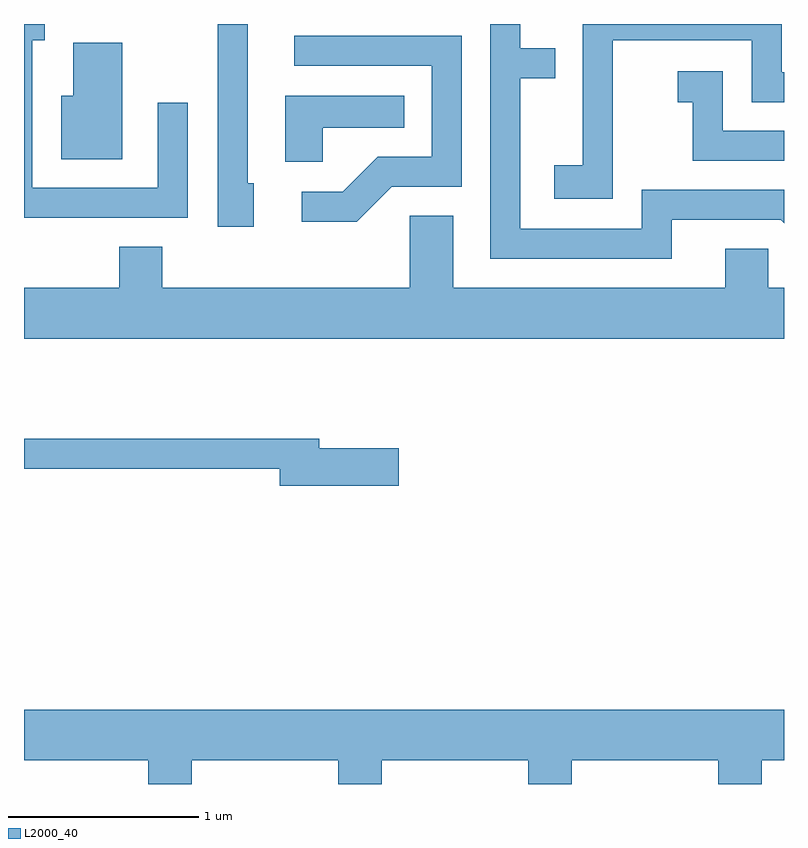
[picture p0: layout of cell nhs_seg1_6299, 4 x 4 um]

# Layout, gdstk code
import gdstk
lib = gdstk.Library(unit=1e-6, precision=1e-09)
def P(c, l, *ps):  # polygons
    for p in ps: c.add(gdstk.Polygon(p, *l))
L2000_40 = (2000, 40)

nhs_seg1_6299 = lib.new_cell('nhs_seg1_6299')
P(nhs_seg1_6299, L2000_40, [(378.709,865.626),(379.441,865.626),(379.441,865.301),(379.611,865.301),(379.611,865.459),(379.599,865.459),(379.599,865.712),(378.551,865.712),(378.551,864.969),(378.401,864.969),(378.401,864.791),(378.709,864.791)],
  [(379.019,864.681),(379.594,864.681),(379.611,864.664),(379.611,864.839),(378.861,864.839),(378.861,864.634),(378.224,864.634),(378.224,865.426),(378.408,865.426),(378.408,865.584),(378.224,865.584),(378.224,865.712),(378.066,865.712),(378.066,864.476),(379.019,864.476)],
  [(376.819,864.874),(376.789,864.874),(376.789,865.712),(376.631,865.712),(376.631,864.646),(376.819,864.646)],
  [(376.474,865.298),(376.316,865.298),(376.316,864.849),(375.654,864.849),(375.654,865.626),(375.719,865.626),(375.719,865.712),(375.611,865.712),(375.611,864.691),(376.474,864.691)],
  [(377.547,864.856),(377.914,864.856),(377.914,865.649),(377.033,865.649),(377.033,865.491),(377.756,865.491),(377.756,865.014),(377.474,865.014),(377.289,864.829),(377.073,864.829),(377.073,864.671),(377.362,864.671)],
  [(376.129,865.614),(375.871,865.614),(375.871,865.334),(375.806,865.334),(375.806,865.001),(376.129,865.001)],
  [(379.611,865.149),(379.289,865.149),(379.289,865.464),(379.053,865.464),(379.053,865.301),(379.131,865.301),(379.131,864.991),(379.611,864.991)],
  [(377.184,865.166),(377.613,865.166),(377.613,865.334),(376.986,865.334),(376.986,864.986),(377.184,864.986)],
  [(379.301,864.529),(379.301,864.324),(377.869,864.324),(377.869,864.704),(377.641,864.704),(377.641,864.324),(376.339,864.324),(376.339,864.539),(376.111,864.539),(376.111,864.324),(375.611,864.324),(375.611,864.056),(379.611,864.056),(379.611,864.324),(379.529,864.324),(379.529,864.529)],
  [(377.584,863.479),(377.164,863.479),(377.164,863.529),(375.611,863.529),(375.611,863.371),(376.956,863.371),(376.956,863.281),(377.584,863.281)],
  [(375.611,861.836),(376.266,861.836),(376.266,861.712),(376.494,861.712),(376.494,861.836),(377.266,861.836),(377.266,861.712),(377.494,861.712),(377.494,861.836),(378.266,861.836),(378.266,861.712),(378.494,861.712),(378.494,861.836),(379.266,861.836),(379.266,861.712),(379.494,861.712),(379.494,861.836),(379.611,861.836),(379.611,862.104),(375.611,862.104)])

lib.write_gds('nhs_seg1_6299.gds')
